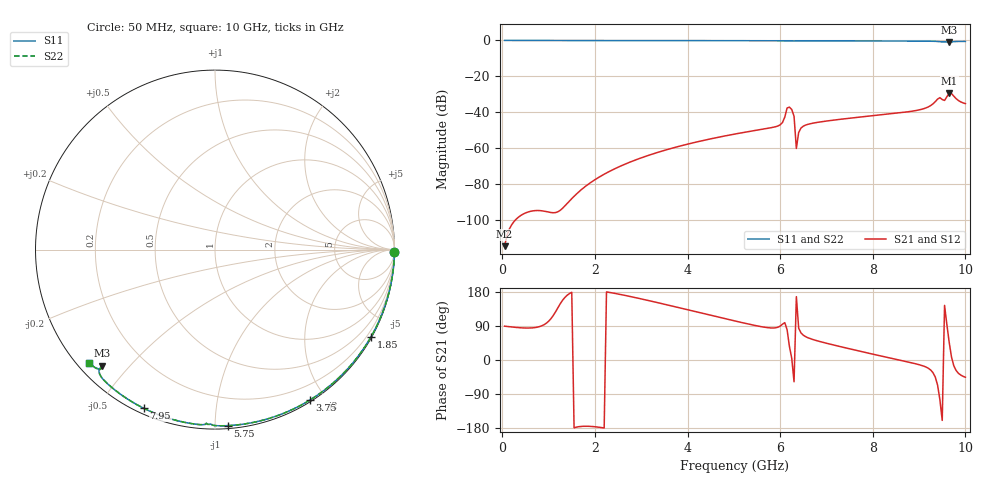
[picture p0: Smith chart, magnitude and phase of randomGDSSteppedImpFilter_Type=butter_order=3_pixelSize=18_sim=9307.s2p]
! freq	dB(S11)	phase(S11)	dB(S12)	phase(S12)
!  dB(S21)	phase(S21)	dB(S22)	phase(S22)
!S-par simulation data
#  GHz  S  DB  R 50
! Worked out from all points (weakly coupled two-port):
!   200 points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, 50 MHz to 10 GHz, reference 50 ohm
!   highest |S21| = -29.34 dB at 9.65 GHz (marker M1); lowest = -114.7 dB at 50 MHz (marker M2)
!   lowest |S11| = -0.9 dB at 9.65 GHz (marker M3), VSWR 19.10, Z = 3.09 - j21.1 ohm
!   |S11| at or under -10 dB: nowhere
!   |S22| runs from -0.9 to 0.0 dB; largest |S21 - S12| = 0
!   S11 on the Smith chart (normalised r, x): 50 MHz: open; 1.85 GHz: 0.03, -3.83; 3.75 GHz: 0.02, -1.81; 5.75 GHz: 0.02, -1.07; 7.95 GHz: 0.02, -0.65; 10 GHz: 0.03, -0.38
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0.05  -0.00 -0.8  -114.74 89.3  -114.74 89.3  -0.00 -0.8
1.75  -0.04 -27.7  -82.31 -174.9  -82.31 -174.9  -0.04 -27.7
1.85  -0.04 -29.3  -80.33 -174.9  -80.33 -174.9  -0.04 -29.3
3.4  -0.07 -52.8  -62.08 150.1  -62.08 150.1  -0.07 -52.7
3.75  -0.08 -57.9  -59.50 140.0  -59.50 140.0  -0.08 -57.8
5.05  -0.12 -76.3  -52.06 102.2  -52.06 102.2  -0.12 -76.3
5.75  -0.15 -85.9  -48.91 85.1  -48.91 85.1  -0.15 -85.8
6.05  -0.17 -90.1  -45.79 94.5  -45.79 94.5  -0.17 -90.0
6.15  -0.25 -91.4  -37.66 79.8  -37.66 79.8  -0.26 -91.3
6.2  -0.23 -91.7  -37.20 35.9  -37.20 35.9  -0.23 -91.6
6.3  -0.28 -92.9  -42.28 -57.4  -42.28 -57.4  -0.27 -92.8
6.35  -0.22 -93.3  -60.24 167.2  -60.24 167.2  -0.21 -93.2
6.4  -0.19 -94.0  -51.33 84.0  -51.33 84.0  -0.19 -94.0
6.45  -0.19 -94.8  -48.85 71.4  -48.85 71.4  -0.19 -94.7
6.7  -0.19 -98.2  -46.17 54.3  -46.17 54.3  -0.19 -98.1
7.95  -0.27 -114.1  -42.11 16.8  -42.11 16.8  -0.27 -114.0
8.35  -0.30 -119.2  -41.02 5.8  -41.02 5.8  -0.30 -119.1
9.15  -0.39 -129.6  -37.61 -18.6  -37.61 -18.6  -0.39 -129.5
9.45  -0.75 -134.1  -31.91 -105.3  -31.91 -105.3  -0.75 -134.0
9.55  -0.77 -134.0  -33.46 144.1  -33.46 144.1  -0.77 -134.0
9.65  -0.91 -134.1  -29.34 46.8  -29.34 46.8  -0.92 -134.0
10  -0.52 -138.1  -35.23 -45.5  -35.23 -45.5  -0.52 -138.0
